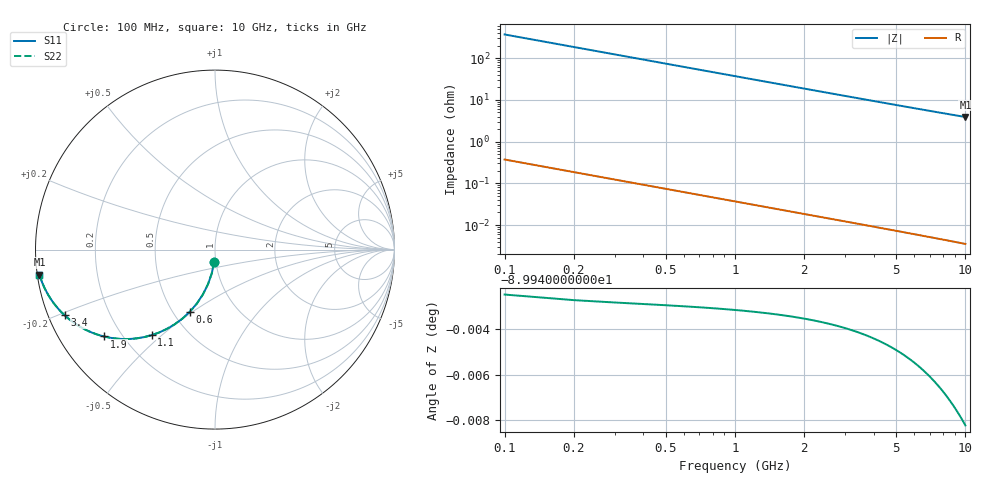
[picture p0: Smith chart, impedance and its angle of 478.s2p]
# Hz S RI R 50.00
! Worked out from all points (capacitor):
!   100 points, 100 MHz to 10 GHz, reference 50 ohm
!   read as one part in shunt: C = 4.28 pF near 100 MHz
!   lowest |Z| = 3.9 ohm at 10 GHz (marker M1)
!   S11 on the Smith chart (normalised r, x): 100 MHz: 0.98, -0.13; 600 MHz: 0.61, -0.49; 1.1 GHz: 0.31, -0.46; 1.9 GHz: 0.13, -0.34; 3.4 GHz: 0.05, -0.21; 10 GHz: 0.01, -0.07
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1e8  -0.00456 -0.0669  0.9954 -0.067  0.9954 -0.067  -0.00456 -0.0669
2e8  -0.0179 -0.132  0.9821 -0.1323  0.9821 -0.1323  -0.0179 -0.132
3e8  -0.0393 -0.1936  0.9607 -0.194  0.9607 -0.194  -0.0393 -0.1936
4e8  -0.0677 -0.2505  0.9323 -0.251  0.9323 -0.251  -0.0677 -0.2505
5e8  -0.1018 -0.3016  0.8982 -0.3022  0.8982 -0.3022  -0.1018 -0.3016
6e8  -0.1402 -0.3463  0.8598 -0.3471  0.8598 -0.3471  -0.1402 -0.3463
7e8  -0.1815 -0.3845  0.8184 -0.3854  0.8184 -0.3854  -0.1815 -0.3845
8e8  -0.2245 -0.4162  0.7755 -0.4173  0.7755 -0.4173  -0.2245 -0.4162
9e8  -0.268 -0.4418  0.732 -0.443  0.732 -0.443  -0.268 -0.4418
1.1e9  -0.3532 -0.4768  0.6467 -0.4782  0.6467 -0.4782  -0.3532 -0.4768
1.4e9  -0.4689 -0.4976  0.531 -0.4995  0.531 -0.4995  -0.4689 -0.4976
1.8e9  -0.5929 -0.4896  0.4071 -0.492  0.4071 -0.492  -0.5929 -0.4896
1.9e9  -0.6185 -0.484  0.3814 -0.4865  0.3814 -0.4865  -0.6185 -0.484
2.2e9  -0.6846 -0.4627  0.3154 -0.4656  0.3154 -0.4656  -0.6846 -0.4627
2.6e9  -0.7515 -0.4299  0.2484 -0.4333  0.2484 -0.4333  -0.7515 -0.4299
3e9  -0.8008 -0.3969  0.1992 -0.4009  0.1992 -0.4009  -0.8008 -0.3969
3.4e9  -0.8375 -0.3661  0.1624 -0.3707  0.1624 -0.3707  -0.8375 -0.3661
4.2e9  -0.8869 -0.3133  0.113 -0.319  0.113 -0.319  -0.8869 -0.3133
5.1e9  -0.9203 -0.2668  0.0797 -0.2738  0.0797 -0.2738  -0.9203 -0.2668
6.7e9  -0.9522 -0.2082  0.0478 -0.2175  0.0478 -0.2175  -0.9522 -0.2082
8.4e9  -0.9691 -0.1667  0.0308 -0.1783  0.0308 -0.1783  -0.9691 -0.1667
1e10  -0.978 -0.1388  0.0218 -0.1528  0.0218 -0.1528  -0.978 -0.1388
